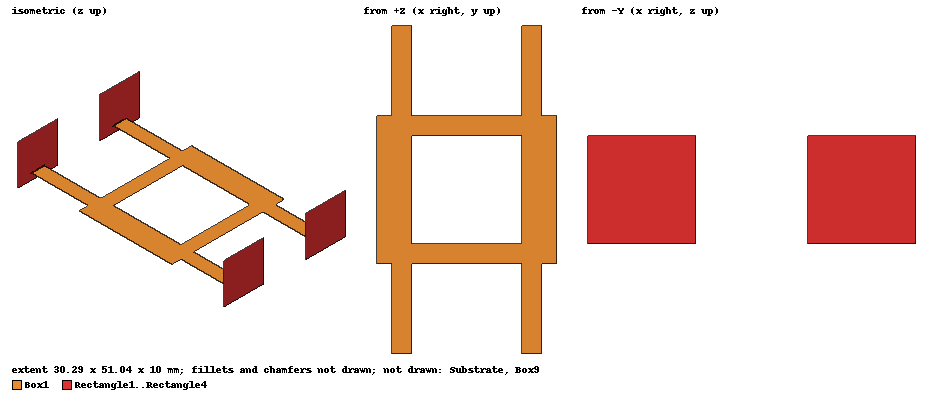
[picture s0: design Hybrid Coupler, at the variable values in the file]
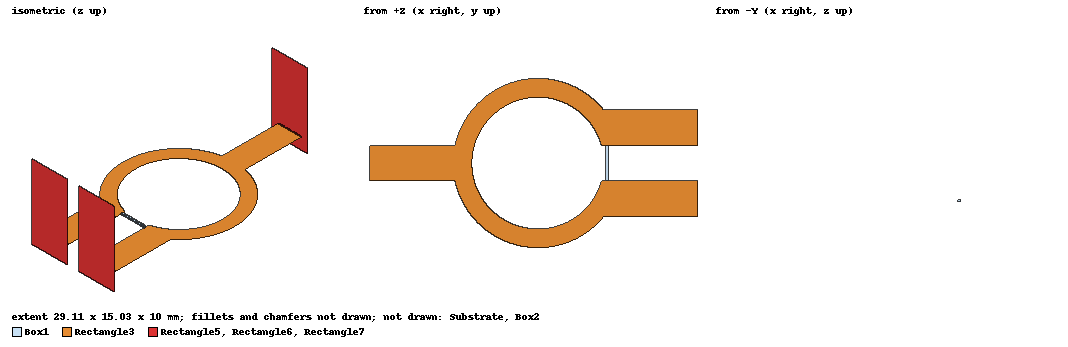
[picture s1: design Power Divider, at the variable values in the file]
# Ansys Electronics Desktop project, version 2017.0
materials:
  copper: permeability=0.999991 conductivity=58000000
  FR4: permittivity=4.1 dielectric_loss_tangent=0.02
  FR4_epoxy: permittivity=4.4 permeability=1 dielectric_loss_tangent=0.02
  Rogers RT/duroid 6010/6010LM (tm): permittivity=10.2 dielectric_loss_tangent=0.0023
  vacuum: permittivity=1

design Hybrid Coupler (HFSS, DrivenModal, model units mm)
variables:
  sub_x = length2+1200mil+(2*width1)
  sub_y = (2*length2)+length1
  sub_h = -62mil
  width1 = 5.39mm
  length1 = 16.75mm
  length2 = 17.143mm
  width2 = 3.145mm
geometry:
  Substrate [FR4] = box(corner=(-600mil, -length2+width2, 0mm), size=(sub_x, sub_y, sub_h))
  Box1 = box(corner=(0mm, 0, 0mm), size=(width1, length1+2*width2, 0mm))
  Box2 = box(corner=(length2+width1, 0, 0mm), size=(width1, length1+2*width2, 0mm))
  Box3 = box(corner=(width1, length1+(width2), 0mm), size=(length2, width2, 0mm))
  Box4 = box(corner=(width1, 0, 0mm), size=(length2, width2, 0mm))
  Box5 = box(corner=(length2 +width1, width2, 0mm), size=(width2, -length2, 0mm))
  Box6 = box(corner=(length2+width1, length1+width2, 0mm), size=(width2, length2, 0mm))
  Box7 = box(corner=(width1, width2, 0mm), size=(-width2, -length2, 0mm))
  Box8 = box(corner=(width1, length1+width2, 0mm), size=(-width2, length2, 0mm))
  Rectangle1 = rectangle(corner=(width1-width2-((10mm-width2)/2), width2-length2, -0.254mm), z_size=10mm, x_size=10mm)
  Rectangle2 = rectangle(corner=(width1+length2-((10mm-width2)/2), width2-length2, -0.254mm), z_size=10mm, x_size=10mm)
  Rectangle3 = rectangle(corner=(width1+length2-((10mm-width2)/2), length1+length2+width2, -0.254mm), z_size=10mm, x_size=10mm)
  Rectangle4 = rectangle(corner=(width1-width2-((10mm-width2)/2), length1+length2+width2, -0.254mm), z_size=10mm, x_size=10mm)
  Box1.unite(Box7, Box4, Box2, Box6, Box3, Box8, Box5)
  Box1.chamfer(Vertices=Box1.vertex(3 of 4) LeftDistance=2.2mm RightDistance=2.2mm ChamferType=Symmetric)
  Box1.chamfer(Vertices=Box1.vertex(4 of 4) LeftDistance=2.2mm RightDistance=2.2mm ChamferType=Symmetric)
  Box1.chamfer(Vertices=Box1.vertex(2 of 4) LeftDistance=2.2mm RightDistance=2.2mm ChamferType=Symmetric)
  Box1.chamfer(Vertices=Box1.vertex(1 of 4) LeftDistance=2.2mm RightDistance=2.2mm ChamferType=Symmetric)
  [Rectangle2, Rectangle1, Rectangle4, Rectangle3].move(0mm, 0mm, -52mil)
  Box9 [vacuum] = box(corner=(-15.24mm, 37.038mm, 0mm), size=(58.403mm, -51.036mm, 20mm))
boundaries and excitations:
  FiniteCond2: Finite Conductivity Objects=Box1 UseMaterial Material=copper IsInternal
  Rad1: Radiation Faces=Box9.face(+y, +z, -x, -y, +x) Substrate.face(+y, -x, -y, +x)
  1: Wave Port Faces=Rectangle1.face(#182) NumModes=1 Modes{Mode1{IntLine{middle of Rectangle1.edge(z at corner) -> middle of Rectangle1.edge(z opposite corner)} CharImp=Zpi}}
  2: Wave Port Objects=Rectangle2 NumModes=1 Modes{Mode1{IntLine{middle of Rectangle2.edge(z at corner) -> middle of Rectangle2.edge(z opposite corner)} CharImp=Zpi}}
  3: Wave Port Objects=Rectangle3 NumModes=1 Modes{Mode1{IntLine{middle of Rectangle3.edge(z at corner) -> middle of Rectangle3.edge(z opposite corner)} CharImp=Zpi}}
  4: Wave Port Objects=Rectangle4 NumModes=1 Modes{Mode1{IntLine{middle of Rectangle4.edge(z at corner) -> middle of Rectangle4.edge(z opposite corner)} CharImp=Zpi}}
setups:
  Setup1: HfssDriven Frequency=2GHz MaxDeltaS=0.01 MaximumPasses=20 MinimumPasses=1 MinimumConvergedPasses=2 PercentRefinement=30 BasisOrder=1 PortAccuracy=2 RayDensityPerWavelength=4 MaxNumberOfBounces=5
    sweep Sweep: 1GHz to 4GHz, 3001 points; Type=Interpolating InterpTolerance=0.5 InterpMaxSolns=250 InterpUsePortImped=false PassivityErrorTolerance=0.0001
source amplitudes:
  1:1: 1W 0deg
  2:1, 3:1, 4:1: 0W 0deg
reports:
  XY Plot 1: dB(S(1,1)), dB(S(1,2)), dB(S(1,3)), dB(S(1,4)) vs Freq on Setup1 : Sweep
  XY Plot 2: VSWR(1), VSWR(2), VSWR(3), VSWR(4) vs Freq on Setup1 : Sweep
  XY Plot 3: dB(S(1,1)), dB(S(2,1)), dB(S(3,1)), dB(S(4,1)) vs Freq on Setup1 : Sweep

design Power Divider (HFSS, DrivenModal, model units mm)
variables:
  length1 = 8.4152mm
  width1 = 3.153mm
  radius = 7.514mm
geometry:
  Rectangle1 = rectangle(corner=(0mm, 0mm, 0mm), x_size=length1, y_size=width1)
  Circle1 = circle(normal=Z, centre=(length1+radius-1mm, width1/2, 0mm), radius=radius)
  Circle2 = circle(normal=Z, centre=(length1+radius-1mm, width1/2, 0mm), radius=radius-1.668mm)
  Rectangle2 = rectangle(corner=(length1+2*radius-5mm, 0mm, 0mm), x_size=length1, y_size=width1)
  Rectangle3 = rectangle(corner=(length1+2*radius-2.75mm, width1, 0mm), x_size=length1, y_size=width1)
  Rectangle4 = rectangle(corner=(length1+2*radius-2.75mm, -width1, 0mm), x_size=length1, y_size=width1)
  Circle1.subtract(Circle2)
  Circle1.unite(Rectangle1)
  Circle1.subtract(Rectangle2)
  Rectangle3.unite(Rectangle4, Circle1)
  Substrate [FR4] = box(corner=(0mm, -25mm, 0mm), size=(29.1084mm, 50mm, -62mil))
  Rectangle3.fillet(Vertices=Rectangle3.vertex(#246) Radius=1mm Setback=0mm)
  Rectangle3.fillet(Vertices=Rectangle3.vertex(#247) Radius=1mm Setback=0mm)
  Box1 [vacuum] = box(corner=(length1+2*radius-2.5mm, 0mm, 0mm), size=(10mil, width1, 5mil))
  Rectangle5 = rectangle(corner=(29.1084mm, -4mm, -62mil), y_size=2*(4mm-width1)+width1, z_size=10mm)
  Rectangle6 = rectangle(corner=(29.1084mm, width1+(width1-4mm), -62mil), y_size=2*(4mm-width1)+width1, z_size=10mm)
  Rectangle7 = rectangle(corner=(0, -4mm+width1, -62mil), y_size=2*(4mm-width1)+width1, z_size=10mm)
  Box2 [vacuum] = box(corner=(0mm, -25mm, 0mm), size=(29.1084mm, 50mm, 16mm))
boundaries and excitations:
  FiniteCond1: Finite Conductivity Objects=Rectangle3 UseMaterial Material=copper IsInternal
  LumpRLC1: Lumped RLC Objects=Box1 CurrentLine{middle of Box1.edge(5 of 12) -> middle of Box1.edge(1 of 12)} Resistance=100ohm
  Rad1: Radiation Faces=Box2.face(+y, +x, +z, -x, -y) Substrate.face(+y, +x, -x, -y)
  1: Wave Port Objects=Rectangle7 NumModes=1 Modes{Mode1{IntLine{middle of Rectangle7.edge(z at corner) -> middle of Rectangle7.edge(z opposite corner)} CharImp=Zpi}}
  2: Wave Port Objects=Rectangle6 NumModes=1 Modes{Mode1{IntLine{middle of Rectangle6.edge(z at corner) -> middle of Rectangle6.edge(z opposite corner)} CharImp=Zpi}}
  3: Wave Port Objects=Rectangle5 NumModes=1 Modes{Mode1{IntLine{middle of Rectangle5.edge(z at corner) -> middle of Rectangle5.edge(z opposite corner)} CharImp=Zpi}}
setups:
  Setup1: HfssDriven AdaptMultipleFreqs MultipleAdaptiveFreqsSetup{Broadband{Low=1GHz High=4GHz}} MaxDeltaS=0.01 MaximumPasses=6 MinimumPasses=1 MinimumConvergedPasses=1 PercentRefinement=30 BasisOrder=1 PortAccuracy=2 RayDensityPerWavelength=4 MaxNumberOfBounces=5
    sweep Sweep: 1GHz to 4GHz, 451 points; Type=Interpolating InterpTolerance=0.5 InterpMaxSolns=250 InterpUsePortImped=false PassivityErrorTolerance=0.0001
    sweep Sweep1: 1GHz to 4GHz, 1000 points; Type=Interpolating InterpTolerance=0.5 InterpMaxSolns=250 InterpUsePortImped=false PassivityErrorTolerance=0.0001
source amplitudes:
  1:1: 1W 0deg
  2:1, 3:1: 0W 0deg
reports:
  XY Plot 1: dB(S(1,1)), dB(S(2,1)), dB(S(3,1)) vs Freq on Setup1 : Sweep; markers m1 at 2.4466667GHz, m2 at 2.4666667GHz, m3 at 3.8266667GHz
  XY Plot 2: mag(S(1,1)), mag(S(2,1)), mag(S(3,1)) vs Freq on Setup1 : Sweep

design Dividerfr4 (Circuit)
options: SParamCircuitDef IntegrationMethod=FFT
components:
  A146 = MS_TRL(W=1.66874mm P=17.2952mm)
  R246 = RES_(R=100)
  A1 = MS_TRL(W=1.66874mm P=17.2952mm)
  A2 = MS_TRL(W=3.15313mm P=8.4152mm)
  A3 = MS_TRL(W=3.15313mm P=8.4152mm)
  A4 = MS_TRL(W=3.15313mm P=8.4152mm)
  port 1 pnum=1 rz=50ohm iz=0ohm noisetemp=16.85 noisetemporig=16.85cel
  port 2 pnum=2 rz=50ohm iz=0ohm noisetemp=16.85 noisetemporig=16.85cel
  port 3 pnum=3 rz=50ohm iz=0ohm noisetemp=16.85 noisetemporig=16.85cel
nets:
  1: A4.0
  2: A3.1
  3: A2.1
  net_25: A146.1, R246.1, A2.0
  net_26: A1.1, R246.0, A3.0
  net_27: A146.0, A1.0, A4.1
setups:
  LinearFrequency: LinearFrequencyData(false, 0.1, false, "", false) SweepDefinition{Variable=F Data="LINC 2GHz 4GHz 1001"}
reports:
  S-Parameters: Magnitude: dB(S(1,1)), dB(S(2,1)), dB(S(3,1)) vs F on LinearFrequency : LinearFrequency
  Phase: cang_deg_val(S(1,1)), cang_deg_val(S(2,1)), cang_deg_val(S(3,1)) vs F on LinearFrequency : LinearFrequency; markers m1 at 2.7GHz, m2 at 2.7GHz

design Hybrid1 (Circuit)
options: SParamCircuitDef IntegrationMethod=FFT
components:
  A112 = MS_TRL(W=5.34934mm P=16.7546mm)
  A3 = MS_TRL(W=3.1453mm P=17.1885mm)
  A2 = MS_TRL(W=3.1453mm P=17.1885mm)
  A1 = MS_TRL(W=5.34934mm P=16.7546mm)
  port 1 pnum=1 rz=50ohm iz=0ohm noisetemp=16.85 noisetemporig=16.85cel
  port 2 pnum=2 rz=50ohm iz=0ohm noisetemp=16.85 noisetemporig=16.85cel
  port 3 pnum=3 rz=50ohm iz=0ohm noisetemp=16.85 noisetemporig=16.85cel
  port 4 pnum=4 rz=50ohm iz=0ohm noisetemp=16.85 noisetemporig=16.85cel
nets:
  1: A112.0, A2.1
  2: A112.1, A3.1
  3: A3.0, A1.1
  4: A2.0, A1.0
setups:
  LinearFrequency: LinearFrequencyData(false, 0.1, false, "", false) SweepDefinition{Variable=F Data="LINC 1GHz 4GHz 1001"}
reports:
  S-Parameters: Magnitude: dB(S(1,1)), dB(S(2,1)), dB(S(3,1)), dB(S(4,1)) vs F on LinearFrequency : LinearFrequency; markers m1 at 2.488GHz, MX1 at x=4e+09
  S-Parameters: Phase: cang_deg_val(S(1,1)), cang_deg_val(S(2,1)), cang_deg_val(S(3,1)), cang_deg_val(S(4,1)) vs F on LinearFrequency : LinearFrequency; markers m1 at 2.5GHz, m2 at 2.5GHz, m3 at 2.5GHz, m4 at 2.5GHz
  XY Plot 1: VSWR(1), VSWR(2), VSWR(3), VSWR(4) vs F on LinearFrequency : LinearFrequency

design RatRace (Circuit)
options: SParamCircuitDef IntegrationMethod=FFT
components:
  A4 = MS_TRL(W=1.66874mm P=17.2952mm)
  A1 = MS_TRL(W=1.66874mm P=17.2952mm)
  A2 = MS_TRL(W=1.66874mm P="(17.2952*3) mm")
  A3 = MS_TRL(W=1.66874mm P=17.2952mm)
  A5 = MS_TRL(W=3.15313mm P=8.4152mm)
  A6 = MS_TRL(W=3.15313mm P=8.4152mm)
  A7 = MS_TRL(W=3.15313mm P=8.4152mm)
  A8 = MS_TRL(W=3.15313mm P=8.4152mm)
  port 1 pnum=1 rz=50ohm iz=0ohm noisetemp=16.85 noisetemporig=16.85cel
  port 2 pnum=2 rz=50ohm iz=0ohm noisetemp=16.85 noisetemporig=16.85cel
  port 3 pnum=3 rz=50ohm iz=0ohm noisetemp=16.85 noisetemporig=16.85cel
  port 4 pnum=4 rz=50ohm iz=0ohm noisetemp=16.85 noisetemporig=16.85cel
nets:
  1: A6.0
  2: A7.1
  3: A5.0
  4: A8.1
  net_2: A1.0, A3.0, A5.1
  net_3: A4.0, A3.1, A6.1
  net_4: A4.1, A2.1, A7.0
  net_5: A2.0, A1.1, A8.0
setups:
  LinearFrequency: LinearFrequencyData(false, 0.1, false, "", false) SweepDefinition{Variable=F Data="LIN 1GHz 5GHz 0.01GHz"}
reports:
  Rat Race S-Parameters: dB(S(1,1)), dB(S(2,1)), dB(S(3,1)), dB(S(4,1)) vs F on LinearFrequency : LinearFrequency
